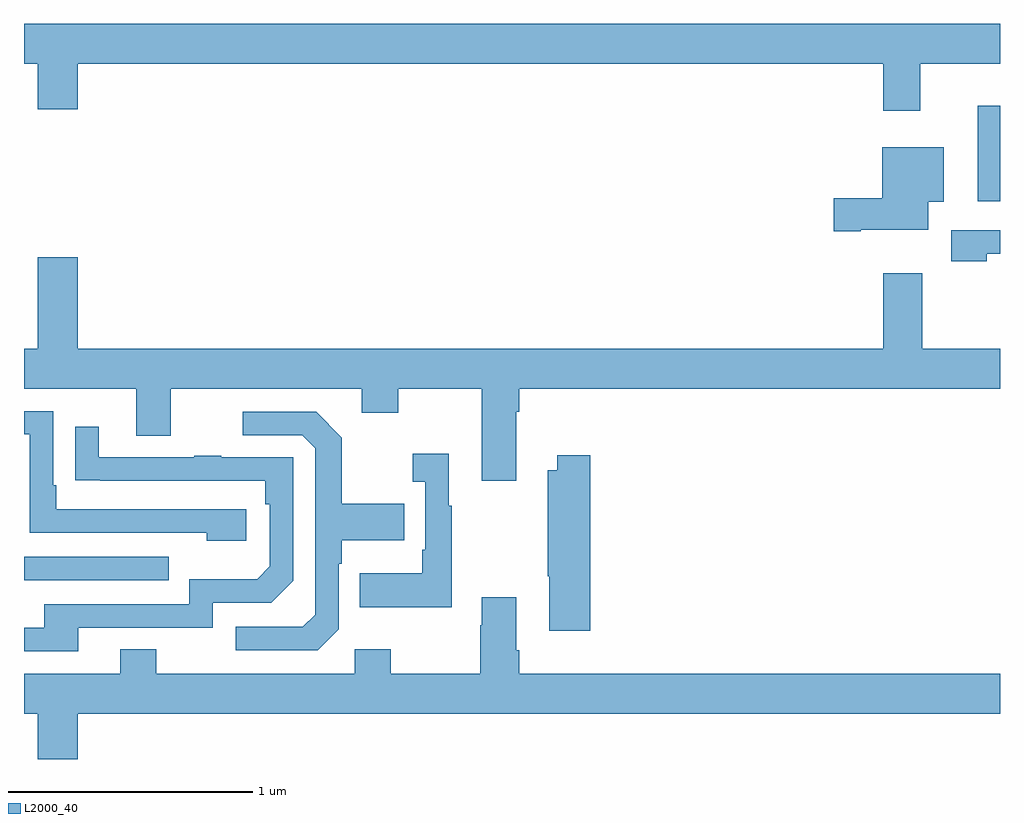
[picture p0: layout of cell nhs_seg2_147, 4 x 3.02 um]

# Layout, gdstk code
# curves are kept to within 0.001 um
import gdstk
lib = gdstk.Library(unit=1e-6, precision=1e-09)
def R(c, l, rs):  # rectangles x0, y0, x1, y1
    for r in rs: c.add(gdstk.rectangle(r[:2], r[2:], *l))
def P(c, l, *ps):  # polygons
    for p in ps: c.add(gdstk.Polygon(p, *l))
L2000_40 = (2000, 40)

nhs_seg2_147 = lib.new_cell('nhs_seg2_147')
R(nhs_seg2_147, L2000_40, [(117,646.851,117.593,646.947), (120.908,648.404,121,648.796)])
P(nhs_seg2_147, L2000_40, [(120.673,648.968),(121,648.968),(121,649.132),(117,649.132),(117,648.968),(117.056,648.968),(117.056,648.78),(117.22,648.78),(117.22,648.968),(120.521,648.968),(120.521,648.774),(120.673,648.774)],
  [(120.43,648.287),(120.706,648.287),(120.706,648.401),(120.769,648.401),(120.769,648.625),(120.518,648.625),(120.518,648.417),(120.318,648.417),(120.318,648.28),(120.43,648.28)],
  [(120.945,648.189),(121,648.189),(121,648.285),(120.801,648.285),(120.801,648.157),(120.945,648.157)],
  [(119.017,647.54),(119.03,647.54),(119.03,647.636),(121,647.636),(121,647.8),(120.681,647.8),(120.681,648.109),(120.521,648.109),(120.521,647.8),(117.22,647.8),(117.22,648.175),(117.056,648.175),(117.056,647.8),(117,647.8),(117,647.636),(117.461,647.636),(117.461,647.442),(117.601,647.442),(117.601,647.636),(118.385,647.636),(118.385,647.537),(118.533,647.537),(118.533,647.636),(118.877,647.636),(118.877,647.259),(119.017,647.259)],
  [(117.91,647.142),(117.133,647.142),(117.133,647.239),(117.12,647.239),(117.12,647.544),(117,647.544),(117,647.448),(117.024,647.448),(117.024,647.046),(117.749,647.046),(117.749,647.012),(117.91,647.012)],
  [(118.29,646.65),(118.29,646.919),(118.303,646.919),(118.303,647.015),(118.559,647.015),(118.559,647.163),(118.303,647.163),(118.303,647.435),(118.197,647.541),(117.897,647.541),(117.897,647.445),(118.14,647.445),(118.194,647.391),(118.194,646.71),(118.143,646.659),(117.867,646.659),(117.867,646.563),(118.203,646.563)],
  [(117.223,646.656),(117.774,646.656),(117.774,646.758),(118.014,646.758),(118.104,646.848),(118.104,647.355),(117.809,647.355),(117.809,647.36),(117.697,647.36),(117.697,647.355),(117.307,647.355),(117.307,647.479),(117.211,647.479),(117.211,647.26),(117.988,647.259),(117.988,647.162),(118.008,647.162),(118.008,646.908),(117.955,646.855),(117.678,646.855),(117.678,646.752),(117.083,646.752),(117.083,646.656),(117,646.656),(117,646.56),(117.223,646.56)],
  [(118.753,647.155),(118.741,647.155),(118.741,647.368),(118.593,647.368),(118.593,647.255),(118.644,647.255),(118.644,646.975),(118.632,646.975),(118.632,646.879),(118.375,646.879),(118.375,646.739),(118.753,646.739)],
  [(119.321,647.362),(119.186,647.362),(119.186,647.302),(119.146,647.302),(119.146,646.867),(119.153,646.867),(119.153,646.644),(119.321,646.644)],
  [(117.22,646.304),(121,646.304),(121,646.468),(119.03,646.468),(119.03,646.564),(119.017,646.564),(119.017,646.78),(118.877,646.78),(118.877,646.667),(118.87,646.667),(118.87,646.468),(118.503,646.468),(118.503,646.567),(118.356,646.567),(118.356,646.468),(117.543,646.468),(117.543,646.567),(117.395,646.567),(117.395,646.468),(117,646.468),(117,646.304),(117.056,646.304),(117.056,646.116),(117.22,646.116)])

lib.write_gds('nhs_seg2_147.gds')
